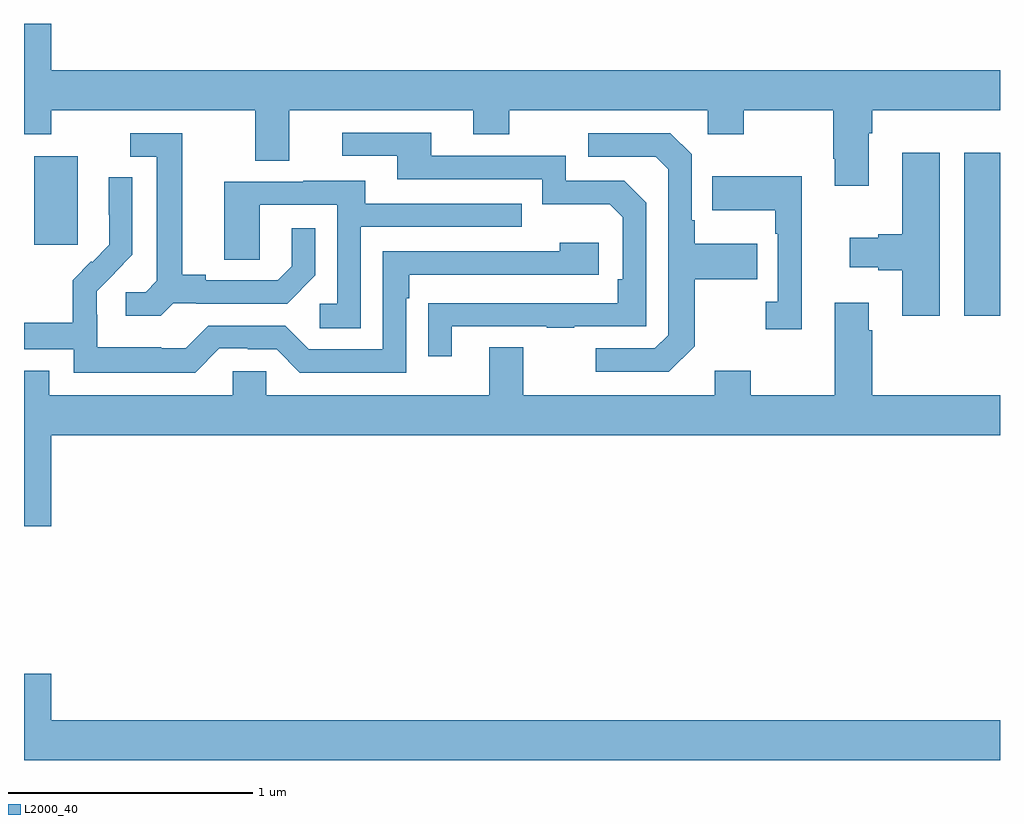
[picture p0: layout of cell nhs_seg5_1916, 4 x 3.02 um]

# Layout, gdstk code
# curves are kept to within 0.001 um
import gdstk
lib = gdstk.Library(unit=1e-6, precision=1e-09)
def R(c, l, rs):  # rectangles x0, y0, x1, y1
    for r in rs: c.add(gdstk.rectangle(r[:2], r[2:], *l))
def P(c, l, *ps):  # polygons
    for p in ps: c.add(gdstk.Polygon(p, *l))
L2000_40 = (2000, 40)

nhs_seg5_1916 = lib.new_cell('nhs_seg5_1916')
R(nhs_seg5_1916, L2000_40, [(228.854,845.262,229,845.929), (225.041,845.553,225.22,845.914)])
P(nhs_seg5_1916, L2000_40, [(228.463,846.008),(228.476,846.008),(228.476,846.104),(229,846.104),(229,846.268),(225.112,846.268),(225.112,846.457),(225,846.457),(225,846.005),(225.111,846.005),(225.111,846.104),(225.947,846.104),(225.947,845.896),(226.087,845.896),(226.087,846.104),(226.841,846.104),(226.841,846.005),(226.989,846.005),(226.989,846.104),(227.802,846.104),(227.802,846.005),(227.949,846.005),(227.949,846.104),(228.316,846.104),(228.316,845.905),(228.323,845.905),(228.323,845.793),(228.463,845.793)],
  [(226.753,845.217),(227.143,845.217),(227.143,845.212),(227.255,845.212),(227.255,845.217),(227.55,845.217),(227.55,845.724),(227.46,845.814),(227.22,845.814),(227.22,845.916),(226.669,845.916),(226.669,846.012),(226.305,846.012),(226.305,845.916),(226.529,845.916),(226.529,845.82),(227.124,845.82),(227.124,845.717),(227.401,845.717),(227.454,845.664),(227.454,845.41),(227.434,845.41),(227.434,845.313),(226.657,845.312),(226.657,845.094),(226.753,845.094)],
  [(227.749,845.137),(227.749,845.41),(228.005,845.41),(228.005,845.557),(227.749,845.557),(227.749,845.653),(227.736,845.653),(227.736,845.922),(227.649,846.009),(227.313,846.009),(227.313,845.913),(227.589,845.913),(227.64,845.862),(227.64,845.181),(227.586,845.127),(227.343,845.127),(227.343,845.031),(227.643,845.031)],
  [(225.612,845.313),(225.706,845.313),(225.706,845.31),(226.078,845.31),(226.194,845.426),(226.194,845.62),(226.097,845.62),(226.097,845.463),(226.04,845.406),(225.745,845.406),(225.745,845.429),(225.649,845.429),(225.649,846.009),(225.435,846.009),(225.435,845.913),(225.545,845.913),(225.545,845.405),(225.498,845.358),(225.417,845.358),(225.417,845.261),(225.56,845.261)],
  [(228.754,845.929),(228.599,845.929),(228.599,845.594),(228.5,845.594),(228.5,845.581),(228.384,845.581),(228.384,845.459),(228.5,845.459),(228.5,845.447),(228.599,845.447),(228.599,845.262),(228.754,845.262)],
  [(228.188,845.833),(227.821,845.833),(227.821,845.693),(228.078,845.693),(228.078,845.597),(228.09,845.597),(228.09,845.318),(228.039,845.318),(228.039,845.205),(228.188,845.205)],
  [(225.801,845.127),(225.917,845.127),(225.917,845.124),(226.035,845.124),(226.131,845.028),(226.566,845.028),(226.566,845.333),(226.579,845.333),(226.579,845.43),(227.356,845.43),(227.356,845.56),(227.195,845.56),(227.195,845.526),(226.47,845.526),(226.47,845.124),(226.167,845.124),(226.071,845.22),(225.756,845.22),(225.663,845.127),(225.563,845.127),(225.563,845.131),(225.3,845.131),(225.3,845.265),(225.298,845.265),(225.298,845.362),(225.444,845.51),(225.444,845.828),(225.348,845.828),(225.348,845.674),(225.35,845.674),(225.35,845.552),(225.279,845.481),(225.276,845.484),(225.199,845.407),(225.199,845.233),(225,845.233),(225,845.124),(225.204,845.124),(225.204,845.027),(225.701,845.027)],
  [(226.38,845.625),(227.039,845.625),(227.039,845.721),(226.399,845.721),(226.399,845.815),(226.145,845.815),(226.145,845.811),(225.821,845.811),(225.821,845.491),(225.966,845.491),(225.966,845.715),(226.284,845.715),(226.284,845.31),(226.212,845.31),(226.212,845.209),(226.38,845.209)],
  [(225.112,844.772),(229,844.772),(229,844.936),(228.476,844.936),(228.476,845.201),(228.463,845.201),(228.463,845.314),(228.323,845.314),(228.323,844.936),(227.979,844.936),(227.979,845.035),(227.831,845.035),(227.831,844.936),(227.047,844.936),(227.047,845.131),(226.907,845.131),(226.907,844.936),(225.993,844.936),(225.993,845.034),(225.855,845.034),(225.855,844.936),(225.103,844.936),(225.103,845.035),(225,845.035),(225,844.398),(225.112,844.398)],
  [(229,843.604),(225.112,843.604),(225.112,843.793),(225,843.793),(225,843.44),(229,843.44)])

lib.write_gds('nhs_seg5_1916.gds')
